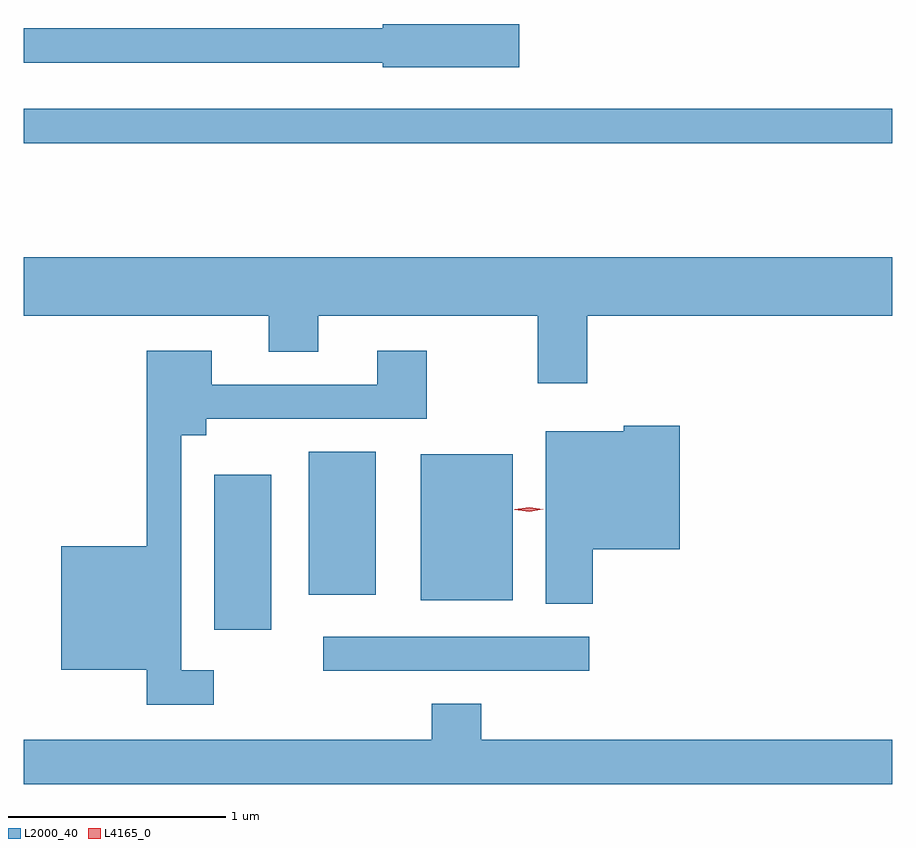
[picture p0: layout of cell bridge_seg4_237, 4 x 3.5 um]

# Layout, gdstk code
import gdstk
lib = gdstk.Library(unit=1e-6, precision=1e-09)
def R(c, l, rs):  # rectangles x0, y0, x1, y1
    for r in rs: c.add(gdstk.rectangle(r[:2], r[2:], *l))
def P(c, l, *ps):  # polygons
    for p in ps: c.add(gdstk.Polygon(p, *l))
L2000_40 = (2000, 40)
L4165_0 = (4165, 0)

bridge_seg4_237 = lib.new_cell('bridge_seg4_237')
R(bridge_seg4_237, L2000_40, [(609.413,1375.241,610.638,1375.399), (608.911,1375.431,609.174,1376.144), (609.861,1375.566,610.284,1376.239), (609.346,1375.591,609.654,1376.249), (608.033,1377.671,612.033,1377.829)])
P(bridge_seg4_237, L2000_40, [(610.314,1378.219),(609.686,1378.219),(609.686,1378.199),(608.033,1378.199),(608.033,1378.041),(609.686,1378.041),(609.686,1378.021),(610.314,1378.021)],
  [(610.629,1376.876),(612.033,1376.876),(612.033,1377.144),(608.033,1377.144),(608.033,1376.876),(609.161,1376.876),(609.161,1376.711),(609.389,1376.711),(609.389,1376.876),(610.401,1376.876),(610.401,1376.566),(610.629,1376.566)],
  [(608.908,1375.244),(608.759,1375.244),(608.759,1376.326),(608.874,1376.326),(608.874,1376.401),(609.889,1376.401),(609.889,1376.714),(609.661,1376.714),(609.661,1376.559),(608.899,1376.559),(608.899,1376.714),(608.601,1376.714),(608.601,1375.814),(608.206,1375.814),(608.206,1375.246),(608.601,1375.246),(608.601,1375.086),(608.908,1375.086)],
  [(610.654,1375.801),(611.054,1375.801),(611.054,1376.369),(610.796,1376.369),(610.796,1376.344),(610.436,1376.344),(610.436,1375.551),(610.654,1375.551)],
  [(612.033,1374.924),(610.139,1374.924),(610.139,1375.089),(609.911,1375.089),(609.911,1374.924),(608.033,1374.924),(608.033,1374.72),(612.033,1374.72)])
P(bridge_seg4_237, L4165_0, [(610.36,1375.974),(610.294,1375.983),(610.293,1375.983),(610.294,1375.984),(610.36,1375.994),(610.426,1375.985),(610.426,1375.985),(610.426,1375.984)])

lib.write_gds('bridge_seg4_237.gds')
